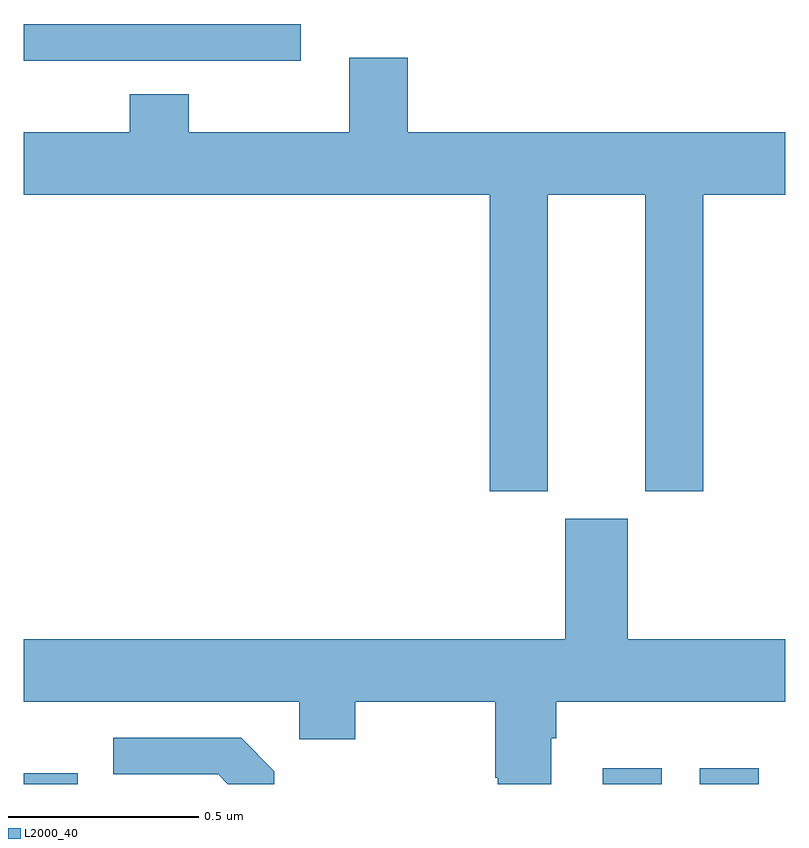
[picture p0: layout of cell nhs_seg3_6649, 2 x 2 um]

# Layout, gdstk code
import gdstk
lib = gdstk.Library(unit=1e-6, precision=1e-09)
def R(c, l, rs):  # rectangles x0, y0, x1, y1
    for r in rs: c.add(gdstk.rectangle(r[:2], r[2:], *l))
def P(c, l, *ps):  # polygons
    for p in ps: c.add(gdstk.Polygon(p, *l))
L2000_40 = (2000, 40)

nhs_seg3_6649 = lib.new_cell('nhs_seg3_6649')
R(nhs_seg3_6649, L2000_40, [(194,667.4,194.142,667.428), (195.521,667.4,195.676,667.441), (195.776,667.4,195.931,667.441)])
P(nhs_seg3_6649, L2000_40, [(194.189,669.3),(194.728,669.3),(194.728,669.396),(194,669.396),(194,669.299),(194.189,669.299)],
  [(195.376,668.948),(195.632,668.948),(195.632,668.169),(195.785,668.169),(195.785,668.948),(196,668.948),(196,669.112),(195.008,669.112),(195.008,669.307),(194.855,669.307),(194.855,669.112),(194.433,669.112),(194.433,669.211),(194.278,669.211),(194.278,669.112),(194,669.112),(194,668.948),(195.224,668.948),(195.224,668.169),(195.376,668.169)],
  [(195.385,667.52),(195.398,667.52),(195.398,667.616),(196,667.616),(196,667.78),(195.586,667.78),(195.586,668.097),(195.422,668.097),(195.422,667.78),(194,667.78),(194,667.616),(194.724,667.616),(194.724,667.517),(194.871,667.517),(194.871,667.616),(195.238,667.616),(195.238,667.417),(195.245,667.417),(195.245,667.4),(195.385,667.4)],
  [(194.658,667.434),(194.571,667.521),(194.235,667.521),(194.235,667.425),(194.511,667.425),(194.536,667.4),(194.658,667.4)])

lib.write_gds('nhs_seg3_6649.gds')
